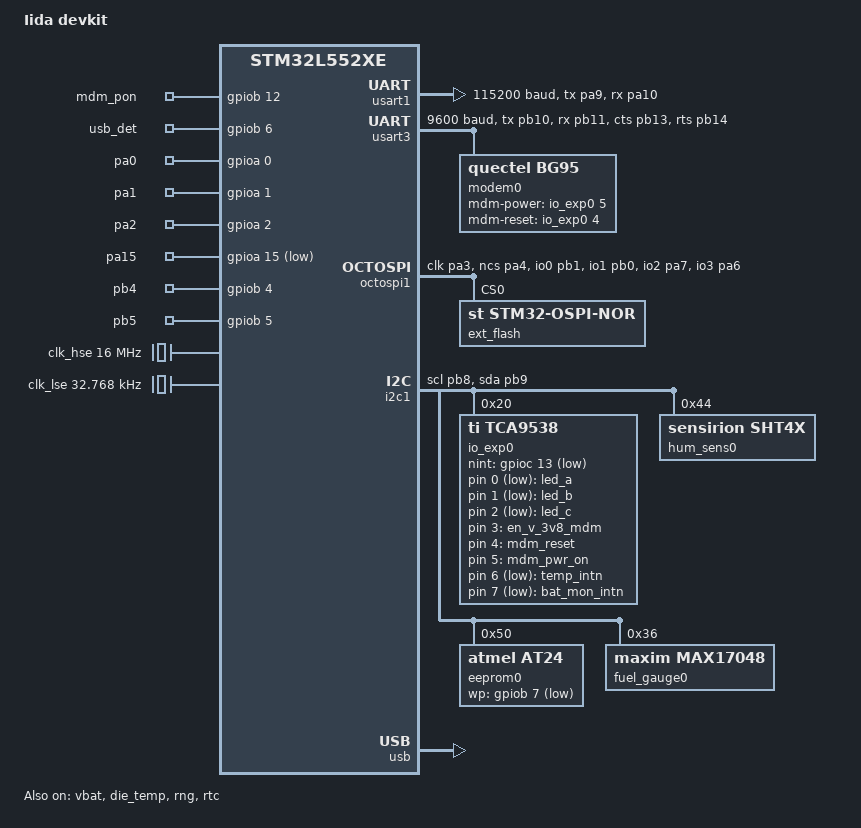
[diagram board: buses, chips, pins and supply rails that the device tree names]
/dts-v1/;

#include <st/l5/stm32l552Xe.dtsi>
#include <st/l5/stm32l552z(c-e)txq-pinctrl.dtsi>

#include <mem.h>
#include <freq.h>

/ {
	model = "Iida devkit";
	compatible = "SakuGlumoff,iida-devkit";

	chosen {
		zephyr,sram = &sram0;
		zephyr,flash = &flash0;
		zephyr,console = &usart1;
		zephyr,shell-uart = &usart1;
	};

	leds: leds {
		compatible = "gpio-leds";
		led_a: led_a {
			gpios = <&io_exp0 0 GPIO_ACTIVE_LOW>;
		};
		led_b: led_b {
			gpios = <&io_exp0 1 GPIO_ACTIVE_LOW>;
		};
		led_c: led_c {
			gpios = <&io_exp0 2 GPIO_ACTIVE_LOW>;
		};
	};

	en_v_3v8_mdm: en_v_3v8_mdm {
		compatible = "dummy-gpio";
		gpios = <&io_exp0 3 GPIO_ACTIVE_HIGH>;
	};

	mdm_reset: mdm_reset {
		compatible = "dummy-gpio";
		gpios = <&io_exp0 4 GPIO_ACTIVE_HIGH>;
	};

	mdm_pwr_on: mdm_pwr_on {
		compatible = "dummy-gpio";
		gpios = <&io_exp0 5 GPIO_ACTIVE_HIGH>;
	};

	mdm_pon: mdm_pon {
		compatible = "dummy-gpio";
		gpios = <&gpiob 12 GPIO_ACTIVE_HIGH>;
	};

	temp_intn: temp_intn {
		compatible = "dummy-gpio";
		gpios = <&io_exp0 6 GPIO_ACTIVE_LOW>;
	};

	bat_mon_intn: bat_mon_intn {
		compatible = "dummy-gpio";
		gpios = <&io_exp0 7 GPIO_ACTIVE_LOW>;
	};

	usb_det: usb_det {
		compatible = "dummy-gpio";
		gpios = <&gpiob 6 GPIO_ACTIVE_HIGH>;
	};

	pa0: pa0 {
		compatible = "dummy-gpio";
		gpios = <&gpioa 0 GPIO_ACTIVE_HIGH>;
	};

	pa1: pa1 {
		compatible = "dummy-gpio";
		gpios = <&gpioa 1 GPIO_ACTIVE_HIGH>;
	};

	pa2: pa2 {
		compatible = "dummy-gpio";
		gpios = <&gpioa 2 GPIO_ACTIVE_HIGH>;
	};

	pa15: pa15 {
		compatible = "dummy-gpio";
		gpios = <&gpioa 15 GPIO_ACTIVE_LOW>;
	};

	pb4: pb4 {
		compatible = "dummy-gpio";
		gpios = <&gpiob 4 GPIO_ACTIVE_HIGH>;
	};

	pb5: pb5 {
		compatible = "dummy-gpio";
		gpios = <&gpiob 5 GPIO_ACTIVE_HIGH>;
	};

	aliases {
		die-temp0 = &die_temp;
		volt-sensor0 = &vbat;
	};
};

&clk_hsi48 {
	status = "okay";
};

&clk_msi {
	status = "okay";
	msi-range = <6>;
};

&clk_hsi {
	status = "okay";
};

&clk_hse {
	status = "okay";
	clock-frequency = <DT_FREQ_M(16)>;
};

&clk_lse {
	status = "okay";
	clock-frequency = <32768>;
};

&pll {
	status = "okay";
	div-m = <2>;
	mul-n = <25>;
	div-p = <7>;
	div-q = <2>;
	div-r = <2>;
	clocks = <&clk_hsi>;
};

&rcc {
	status = "okay";
	clocks = <&pll>;
	clock-frequency = <DT_FREQ_M(100)>;
	ahb-prescaler = <1>;
	apb1-prescaler = <1>;
	apb2-prescaler = <1>;
};

&vbat {
	status = "okay";
};

&die_temp {
	status = "okay";
};

&rng {
	status = "okay";
};

&rtc {
	status = "okay";
};

&dma1 {
	status = "okay";
};

&dma2 {
	status = "okay";
};

&dmamux1 {
	status = "okay";
};

&usart1 {
	status = "okay";

	pinctrl-0 = <&usart1_tx_pa9 &usart1_rx_pa10>;
	pinctrl-names = "default";
	current-speed = <115200>;
};

&usart3 {
	status = "okay";

	pinctrl-0 = <
		&usart3_tx_pb10
		&usart3_rx_pb11
		&usart3_cts_pb13
		&usart3_rts_pb14
	>;
	pinctrl-names = "default";
	current-speed = <9600>;

	modem0: modem {
		compatible = "quectel,bg95";
		zephyr,deferred-init;
		mdm-power-gpios = <&io_exp0 5 GPIO_ACTIVE_HIGH>;
		mdm-reset-gpios = <&io_exp0 4 GPIO_ACTIVE_HIGH>;
	};
};

&octospi1 {
	status = "okay";

	pinctrl-0 = <
		&octospi1_clk_pa3
		&octospi1_ncs_pa4
		&octospi1_io0_pb1
		&octospi1_io1_pb0
		&octospi1_io2_pa7
		&octospi1_io3_pa6
	>;
	pinctrl-names = "default";

	ext_flash: ospi-nor-flash@0 {
		compatible = "st,stm32-ospi-nor";
		reg = <0>;
		size = <DT_SIZE_M(8)>;
		ospi-max-frequency = <DT_FREQ_M(1)>;
		spi-bus-width = <OSPI_QUAD_MODE>;
		data-rate = <OSPI_STR_TRANSFER>;
		writeoc = "PP_1_1_4";
	};
};

&i2c1 {
	status = "okay";

	pinctrl-0 = <&i2c1_scl_pb8 &i2c1_sda_pb9>;
	pinctrl-names = "default";

	io_exp0: i2c@20 {
		compatible = "ti,tca9538";
		gpio-controller;
		reg = <0x20>;
		#gpio-cells = <2>;
		ngpios = <8>;
		nint-gpios = <&gpioc 13 GPIO_ACTIVE_LOW>;
	};

	hum_sens0: i2c@44 {
		compatible = "sensirion,sht4x";
		reg = <0x44>;
		friendly-name = "Humidity sensor";
		repeatability = <2>;
	};

	eeprom0: i2c@50 {
		compatible = "atmel,at24";
		reg = <0x50>;
		size = <DT_SIZE_K(32)>;
		pagesize = <64>;
		address-width = <16>;
		timeout = <5>;
		wp-gpios = <&gpiob 7 GPIO_ACTIVE_LOW>;
	};

	fuel_gauge0: i2c@36 {
		compatible = "maxim,max17048";
		reg = <0x36>;
	};
};

&usb {
	status = "okay";

	zephyr_udc0: usb {
		pinctrl-0 = <&usb_dm_pa11 &usb_dp_pa12>;
		pinctrl-names = "default";
	};
};
